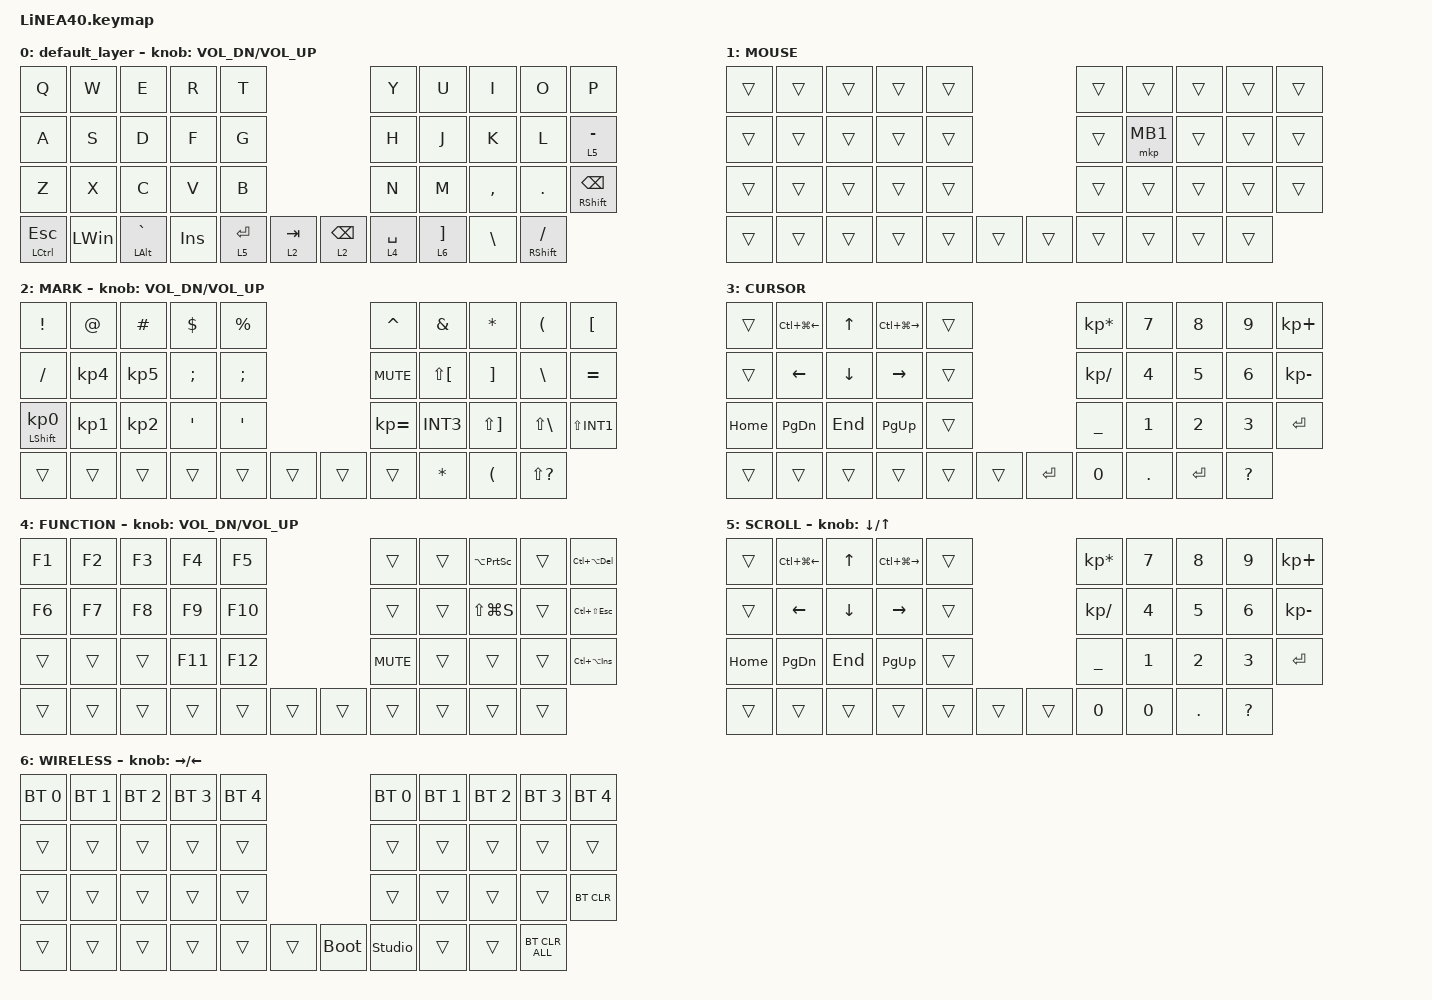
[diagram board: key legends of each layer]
#define ZMK_POINTING_DEFAULT_SCRL_VAL 150

#include <behaviors.dtsi>
#include <dt-bindings/zmk/bt.h>
#include <dt-bindings/zmk/keys.h>
#include <dt-bindings/zmk/pointing.h>
#include <dt-bindings/zmk/input_transform.h>
#include <input/processors.dtsi>
#include <zephyr/dt-bindings/input/input-event-codes.h>

#define MOUSE 1
#define MARK 2
#define CURSOR 3
#define FUNCTION 4
#define SCROLL 5
#define WIRELESS 6

/ {
    keymap {
        compatible = "zmk,keymap";

        default_layer {
            bindings = <
&kp Q          &kp W          &kp E                &kp R    &kp T                                      &kp Y        &kp U  &kp I                &kp O          &kp P
&kp A          &kp S          &kp D                &kp F    &kp G                                      &kp H        &kp J  &kp K                &kp L          &lt 5 MINUS
&kp Z          &kp X          &kp C                &kp V    &kp B                                      &kp N        &kp M  &kp COMMA            &kp DOT        &mt RIGHT_SHIFT BACKSPACE
&mt LCTRL ESC  &kp LEFT_WIN  &mt LEFT_ALT GRAVE  &kp INS  &lt 5 ENTER  &lt 2 TAB    &lt 2 BACKSPACE  &lt 4 SPACE         &lt 6 RIGHT_BRACKET  &kp BACKSLASH  &mt RIGHT_SHIFT SLASH
            >;

            sensor-bindings = <&inc_dec_kp C_VOL_DN C_VOL_UP>;
        };

        MOUSE {
            bindings = <
&trans  &trans  &trans  &trans  &trans                    &trans  &trans    &trans  &trans  &trans
&trans  &trans  &trans  &trans  &trans                    &trans  &mkp MB1  &trans  &trans  &trans
&trans  &trans  &trans  &trans  &trans                    &trans  &trans    &trans  &trans  &trans
&trans  &trans  &trans  &trans  &trans  &trans    &trans  &trans            &trans  &trans  &trans
            >;
        };

        MARK {
            bindings = <
&kp EXCLAMATION              &kp AT            &kp HASH          &kp DOLLAR     &kp PERCENT                      &kp CARET     &kp AMPERSAND  &kp ASTERISK           &kp LEFT_PARENTHESIS  &kp LBKT
&kp SLASH                    &kp KP_NUMBER_4  &kp KP_NUMBER_5  &kp SEMICOLON  &kp SEMICOLON                    &kp C_MUTE    &kp LS(LBKT)   &kp RIGHT_BRACKET      &kp BACKSLASH          &kp EQUAL
&mt LEFT_SHIFT KP_NUMBER_0  &kp KP_NUMBER_1  &kp KP_NUMBER_2  &kp APOS       &kp SQT                          &kp KP_EQUAL  &kp INT3       &kp LS(RIGHT_BRACKET)  &kp LS(BACKSLASH)      &kp LS(INT1)
&trans                       &trans            &trans            &trans         &trans         &trans    &trans  &trans                        &kp ASTERISK           &kp LEFT_PARENTHESIS  &kp LS(QUESTION)
            >;

            sensor-bindings = <&inc_dec_kp C_VOL_DN C_VOL_UP>;
        };

        CURSOR {
            bindings = <
&trans    &kp LC(LG(LEFT_ARROW))  &kp UP_ARROW  &kp LC(LG(RIGHT_ARROW))  &trans                       &kp KP_MULTIPLY  &kp NUMBER_7  &kp NUMBER_8  &kp NUMBER_9  &kp KP_PLUS
&trans    &kp LEFT_ARROW          &kp DOWN      &kp RIGHT_ARROW          &trans                       &kp KP_SLASH     &kp NUMBER_4  &kp NUMBER_5  &kp NUMBER_6  &kp KP_MINUS
&kp HOME  &kp PAGE_DOWN           &kp END       &kp PAGE_UP              &trans                       &kp UNDER        &kp NUMBER_1  &kp NUMBER_2  &kp NUMBER_3  &kp ENTER
&trans    &trans                  &trans        &trans                    &trans  &trans    &kp ENTER  &kp NUMBER_0                   &kp DOT       &kp ENTER     &kp QUESTION
            >;
        };

        FUNCTION {
            bindings = <
&kp F1  &kp F2  &kp F3  &kp F4   &kp F5                       &trans      &trans  &kp LA(PRINTSCREEN)  &trans  &kp LC(LA(DELETE))
&kp F6  &kp F7  &kp F8  &kp F9   &kp F10                      &trans      &trans  &kp LS(LG(S))        &trans  &kp LC(LS(ESCAPE))
&trans  &trans  &trans  &kp F11  &kp F12                      &kp C_MUTE  &trans  &trans               &trans  &kp LC(LA(INS))
&trans  &trans  &trans  &trans   &trans   &trans    &trans  &trans              &trans               &trans  &trans
            >;

            sensor-bindings = <&inc_dec_kp C_VOL_DN C_VOL_UP>;
        };

        SCROLL {
            bindings = <
&trans    &kp LC(LG(LEFT_ARROW))  &kp UP_ARROW  &kp LC(LG(RIGHT_ARROW))  &trans                    &kp KP_MULTIPLY  &kp NUMBER_7  &kp NUMBER_8  &kp NUMBER_9  &kp KP_PLUS
&trans    &kp LEFT_ARROW          &kp DOWN      &kp RIGHT_ARROW          &trans                    &kp KP_SLASH     &kp NUMBER_4  &kp NUMBER_5  &kp NUMBER_6  &kp KP_MINUS
&kp HOME  &kp PAGE_DOWN           &kp END       &kp PAGE_UP              &trans                    &kp UNDER        &kp NUMBER_1  &kp NUMBER_2  &kp NUMBER_3  &kp ENTER
&trans    &trans                  &trans        &trans                    &trans  &trans    &trans  &kp NUMBER_0                   &kp NUMBER_0  &kp DOT       &kp QUESTION
            >;

            sensor-bindings = <&inc_dec_kp DOWN_ARROW UP_ARROW>;
        };

        WIRELESS {
            bindings = <
&bt BT_SEL 0  &bt BT_SEL 1  &bt BT_SEL 2  &bt BT_SEL 3  &bt BT_SEL 4                         &bt BT_SEL 0    &bt BT_SEL 1  &bt BT_SEL 2  &bt BT_SEL 3  &bt BT_SEL 4
&trans        &trans        &trans        &trans        &trans                               &trans          &trans        &trans        &trans        &trans
&trans        &trans        &trans        &trans        &trans                               &trans          &trans        &trans        &trans        &bt BT_CLR
&trans        &trans        &trans        &trans        &trans        &trans    &bootloader  &studio_unlock                &trans        &trans        &bt BT_CLR_ALL
            >;

            sensor-bindings = <&inc_dec_kp RIGHT_ARROW LEFT_ARROW>;
        };
    };
};
